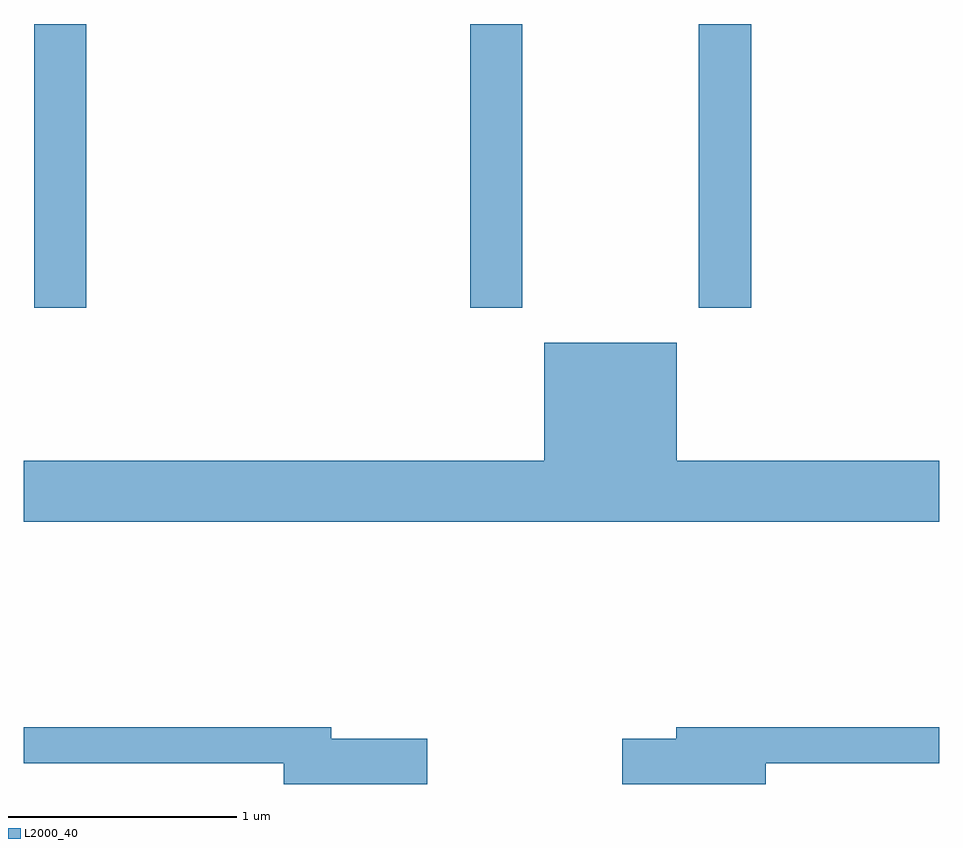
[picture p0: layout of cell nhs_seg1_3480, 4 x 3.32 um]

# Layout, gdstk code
import gdstk
lib = gdstk.Library(unit=1e-6, precision=1e-09)
def R(c, l, rs):  # rectangles x0, y0, x1, y1
    for r in rs: c.add(gdstk.rectangle(r[:2], r[2:], *l))
def P(c, l, *ps):  # polygons
    for p in ps: c.add(gdstk.Polygon(p, *l))
L2000_40 = (2000, 40)

nhs_seg1_3480 = lib.new_cell('nhs_seg1_3480')
R(nhs_seg1_3480, L2000_40, [(289.656,940.471,289.884,941.712), (291.561,940.471,291.789,941.712), (292.561,940.471,292.789,941.712)])
P(nhs_seg1_3480, L2000_40, [(293.611,939.804),(292.464,939.804),(292.464,940.319),(291.886,940.319),(291.886,939.804),(289.611,939.804),(289.611,939.536),(293.611,939.536)],
  [(292.854,938.481),(293.611,938.481),(293.611,938.639),(292.461,938.639),(292.461,938.589),(292.226,938.589),(292.226,938.391),(292.854,938.391)],
  [(291.374,938.589),(290.954,938.589),(290.954,938.639),(289.611,938.639),(289.611,938.481),(290.746,938.481),(290.746,938.391),(291.374,938.391)])

lib.write_gds('nhs_seg1_3480.gds')
